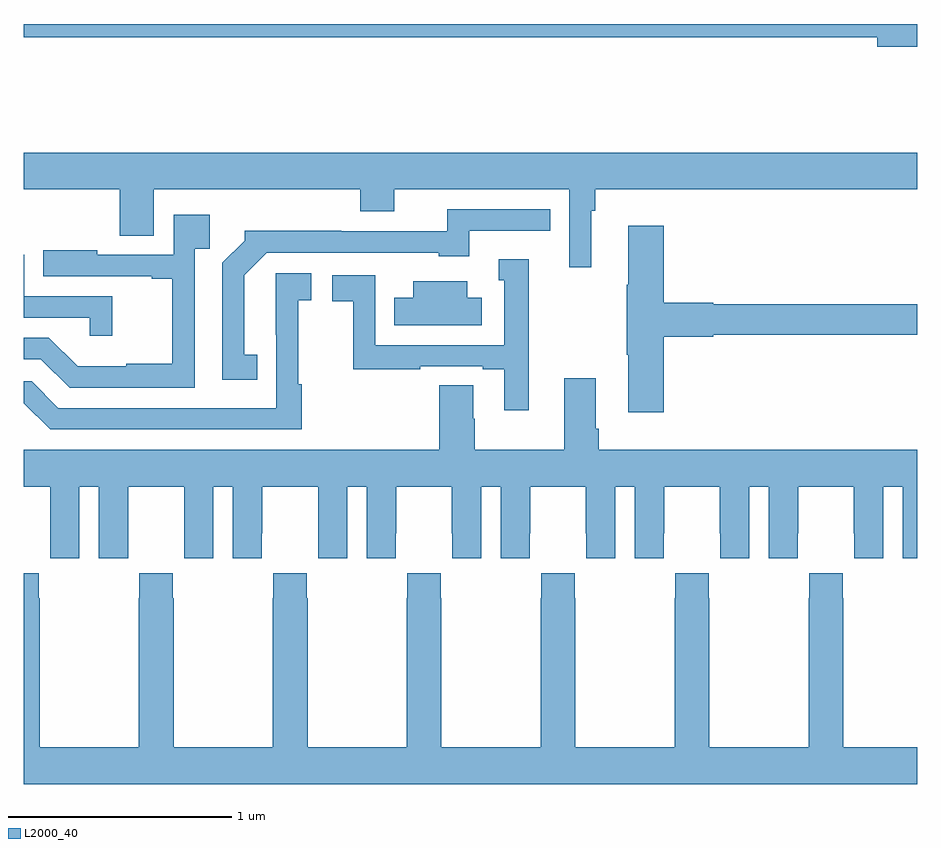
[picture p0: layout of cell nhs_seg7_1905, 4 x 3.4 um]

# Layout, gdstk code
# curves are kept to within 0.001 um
import gdstk
lib = gdstk.Library(unit=1e-6, precision=1e-09)
def P(c, l, *ps):  # polygons
    for p in ps: c.add(gdstk.Polygon(p, *l))
L2000_40 = (2000, 40)

nhs_seg7_1905 = lib.new_cell('nhs_seg7_1905')
P(nhs_seg7_1905, L2000_40, [(243,1024),(239,1024),(239,1023.94),(242.822,1023.94),(242.822,1023.898),(243,1023.898)],
  [(241.54,1023.164),(241.559,1023.164),(241.559,1023.26),(243,1023.26),(243,1023.424),(239,1023.424),(239,1023.26),(239.429,1023.26),(239.429,1023.052),(239.581,1023.052),(239.581,1023.26),(240.506,1023.26),(240.506,1023.161),(240.658,1023.161),(240.658,1023.26),(241.443,1023.26),(241.443,1022.91),(241.54,1022.91)],
  [(240.044,1022.519),(239.986,1022.519),(239.986,1022.875),(240.087,1022.976),(240.858,1022.976),(240.858,1022.96),(240.994,1022.96),(240.994,1023.075),(241.358,1023.075),(241.358,1023.171),(240.895,1023.171),(240.895,1023.072),(240.422,1023.072),(240.422,1023.074),(239.988,1023.074),(239.988,1023.029),(239.889,1022.93),(239.889,1022.406),(240.044,1022.406)],
  [(239.766,1022.993),(239.831,1022.993),(239.831,1023.145),(239.67,1023.145),(239.67,1022.967),(239.329,1022.967),(239.329,1022.986),(239.086,1022.986),(239.086,1022.871),(239.573,1022.871),(239.573,1022.859),(239.665,1022.859),(239.665,1022.479),(239.459,1022.479),(239.459,1022.467),(239.24,1022.467),(239.112,1022.595),(239,1022.595),(239,1022.499),(239.076,1022.499),(239.205,1022.37),(239.766,1022.37)],
  [(241.865,1022.6),(242.088,1022.6),(242.088,1022.608),(243,1022.608),(243,1022.744),(242.088,1022.744),(242.088,1022.752),(241.865,1022.752),(241.865,1023.097),(241.706,1023.097),(241.706,1022.833),(241.699,1022.833),(241.699,1022.519),(241.706,1022.519),(241.706,1022.262),(241.865,1022.262)],
  [(239.396,1022.781),(239.001,1022.781),(239.001,1022.967),(239,1022.967),(239,1022.685),(239.295,1022.685),(239.295,1022.604),(239.396,1022.604)],
  [(241.261,1022.947),(241.127,1022.947),(241.127,1022.853),(241.152,1022.853),(241.152,1022.562),(240.573,1022.562),(240.573,1022.874),(240.381,1022.874),(240.381,1022.758),(240.475,1022.758),(240.475,1022.454),(240.776,1022.454),(240.776,1022.466),(241.055,1022.466),(241.055,1022.454),(241.151,1022.454),(241.151,1022.271),(241.261,1022.271)],
  [(240.245,1022.387),(240.228,1022.387),(240.228,1022.763),(240.286,1022.763),(240.286,1022.884),(240.128,1022.884),(240.129,1022.28),(239.154,1022.28),(239.034,1022.4),(239,1022.4),(239,1022.302),(239.118,1022.184),(240.245,1022.184)],
  [(241.051,1022.773),(240.985,1022.773),(240.985,1022.848),(240.743,1022.848),(240.743,1022.773),(240.658,1022.773),(240.658,1022.651),(241.051,1022.651)],
  [(239.248,1021.928),(239.336,1021.928),(239.336,1021.608),(239.466,1021.608),(239.466,1021.72),(239.467,1021.72),(239.467,1021.928),(239.717,1021.928),(239.717,1021.72),(239.718,1021.72),(239.718,1021.608),(239.848,1021.608),(239.848,1021.928),(239.936,1021.928),(239.936,1021.608),(240.066,1021.608),(240.066,1021.72),(240.067,1021.72),(240.067,1021.928),(240.317,1021.928),(240.317,1021.72),(240.318,1021.72),(240.318,1021.608),(240.448,1021.608),(240.448,1021.928),(240.536,1021.928),(240.536,1021.608),(240.666,1021.608),(240.666,1021.72),(240.667,1021.72),(240.667,1021.928),(240.917,1021.928),(240.917,1021.72),(240.918,1021.72),(240.918,1021.608),(241.048,1021.608),(241.048,1021.928),(241.136,1021.928),(241.136,1021.608),(241.266,1021.608),(241.266,1021.72),(241.267,1021.72),(241.267,1021.928),(241.517,1021.928),(241.517,1021.72),(241.518,1021.72),(241.518,1021.608),(241.648,1021.608),(241.648,1021.928),(241.736,1021.928),(241.736,1021.608),(241.866,1021.608),(241.866,1021.72),(241.867,1021.72),(241.867,1021.928),(242.117,1021.928),(242.117,1021.72),(242.118,1021.72),(242.118,1021.608),(242.248,1021.608),(242.248,1021.928),(242.336,1021.928),(242.336,1021.608),(242.466,1021.608),(242.466,1021.72),(242.467,1021.72),(242.467,1021.928),(242.717,1021.928),(242.717,1021.72),(242.718,1021.72),(242.718,1021.608),(242.848,1021.608),(242.848,1021.928),(242.936,1021.928),(242.936,1021.608),(243,1021.608),(243,1022.092),(241.574,1022.092),(241.574,1022.188),(241.561,1022.188),(241.561,1022.413),(241.421,1022.413),(241.421,1022.092),(241.02,1022.092),(241.02,1022.231),(241.012,1022.231),(241.012,1022.381),(240.86,1022.381),(240.86,1022.092),(239,1022.092),(239,1021.928),(239.117,1021.928),(239.117,1021.72),(239.118,1021.72),(239.118,1021.608),(239.248,1021.608)],
  [(243,1020.76),(242.67,1020.76),(242.67,1021.427),(242.667,1021.427),(242.667,1021.54),(242.517,1021.54),(242.517,1021.427),(242.515,1021.427),(242.515,1020.76),(242.07,1020.76),(242.07,1021.427),(242.067,1021.427),(242.067,1021.54),(241.917,1021.54),(241.917,1021.427),(241.915,1021.427),(241.915,1020.76),(241.47,1020.76),(241.47,1021.427),(241.467,1021.427),(241.467,1021.54),(241.317,1021.54),(241.317,1021.427),(241.315,1021.427),(241.315,1020.76),(240.87,1020.76),(240.87,1021.427),(240.867,1021.427),(240.867,1021.54),(240.717,1021.54),(240.717,1021.427),(240.715,1021.427),(240.715,1020.76),(240.27,1020.76),(240.27,1021.427),(240.267,1021.427),(240.267,1021.54),(240.117,1021.54),(240.117,1021.427),(240.115,1021.427),(240.115,1020.76),(239.67,1020.76),(239.67,1021.427),(239.667,1021.427),(239.667,1021.54),(239.517,1021.54),(239.517,1021.427),(239.515,1021.427),(239.515,1020.76),(239.07,1020.76),(239.07,1021.427),(239.067,1021.427),(239.067,1021.54),(239,1021.54),(239,1020.596),(243,1020.596)])

lib.write_gds('nhs_seg7_1905.gds')
